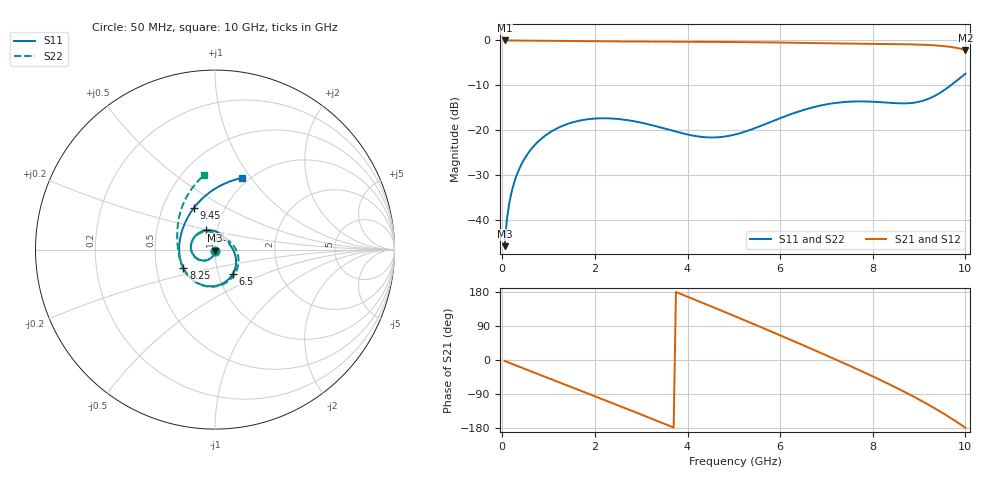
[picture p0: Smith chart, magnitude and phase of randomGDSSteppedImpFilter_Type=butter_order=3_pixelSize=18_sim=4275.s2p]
! freq	dB(S11)	phase(S11)	dB(S12)	phase(S12)
!  dB(S21)	phase(S21)	dB(S22)	phase(S22)
!S-par simulation data
#  GHz  S  DB  R 50
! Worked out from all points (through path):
!   200 points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, 50 MHz to 10 GHz, reference 50 ohm
!   highest |S21| = 0.00 dB at 50 MHz (marker M1); lowest = -2.1 dB at 10 GHz (marker M2)
!   group delay of S21, straight-line fit = 145 ps
!   lowest |S11| = -45.7 dB at 50 MHz (marker M3), VSWR 1.01, Z = 50 - j0.517 ohm
!   |S11| at or under -10 dB: start of sweep to 9.681 GHz
!   |S22| runs from -45.7 to -7.6 dB; largest |S21 - S12| = 0
!   S11 on the Smith chart (normalised r, x): 50 MHz: 1.00, -0.01; 3.1 GHz: 0.88, +0.19; 6.5 GHz: 1.17, -0.33; 8.25 GHz: 0.69, -0.15; 9.45 GHz: 0.72, +0.36; 10 GHz: 0.93, +0.91
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0.05  -45.72 -91.8  -0.00 -2.5  -0.00 -2.5  -45.72 -91.7
0.1  -39.71 -94.6  -0.01 -4.9  -0.01 -4.9  -39.71 -94.4
0.2  -33.71 -99.7  -0.02 -9.7  -0.02 -9.7  -33.71 -99.4
0.5  -25.95 -114.6  -0.04 -24.1  -0.04 -24.1  -25.95 -113.9
1.15  -19.71 -146.9  -0.11 -55.3  -0.11 -55.3  -19.71 -145.2
1.75  -17.66 -176.6  -0.17 -83.9  -0.17 -83.9  -17.67 -173.6
2.4  -17.37 150.9  -0.21 -114.9  -0.21 -114.9  -17.38 156.2
3.1  -18.50 114.9  -0.24 -148.8  -0.24 -148.8  -18.53 124.2
3.4  -19.29 98.9  -0.25 -163.4  -0.25 -163.4  -19.33 110.5
4.2  -21.29 55.1  -0.30 157.0  -0.30 157.0  -21.39 74.4
5.05  -20.85 12.4  -0.36 114.2  -0.36 114.2  -20.92 33.0
5.75  -18.30 -19.1  -0.43 78.1  -0.43 78.1  -18.31 -4.6
6.5  -15.46 -54.1  -0.54 38.8  -0.54 38.8  -15.45 -45.5
6.7  -14.88 -63.9  -0.58 28.1  -0.58 28.1  -14.86 -56.5
7.45  -13.64 -102.5  -0.70 -12.4  -0.70 -12.4  -13.61 -97.7
7.85  -13.57 -124.9  -0.74 -34.7  -0.74 -34.7  -13.52 -120.0
8.25  -13.79 -149.5  -0.79 -57.8  -0.79 -57.8  -13.71 -142.8
8.35  -13.86 -156.1  -0.80 -63.7  -0.80 -63.7  -13.77 -148.7
8.9  -13.82 163.0  -0.90 -97.8  -0.90 -97.8  -13.71 178.3
9.45  -11.66 116.4  -1.18 -135.5  -1.18 -135.5  -11.70 141.6
9.75  -9.46 90.7  -1.55 -158.4  -1.55 -158.4  -9.59 118.9
10  -7.40 69.3  -2.10 -178.8  -2.10 -178.8  -7.55 98.2
